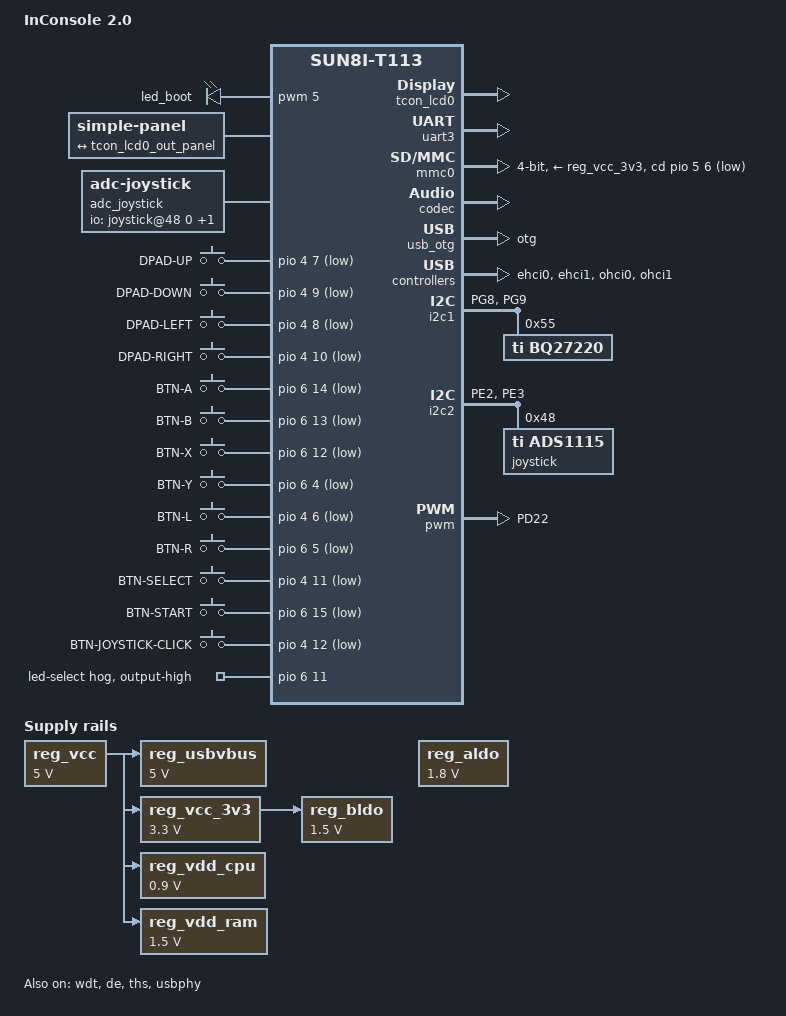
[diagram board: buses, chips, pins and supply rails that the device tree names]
// SPDX-License-Identifier: (GPL-2.0+ or MIT)
// Copyright (C) 2022 Samuel Holland <samuel@sholland.org>

/dts-v1/;

#include <dt-bindings/gpio/gpio.h>
#include <dt-bindings/leds/common.h>
#include "sun8i-t113.dtsi"

/ {
	model = "InConsole 2.0";
	compatible = "allwinner,sun20i-d1", "allwinner,sun8i";

	aliases {
        serial0 = &uart3;
        serial1 = &uart1;
        mmc0 = &mmc0;
	};

	chosen {
		stdout-path = "serial0:115200n8";
		// bootargs = "mem=128M cma=72M root=/dev/mmcblk0p2 init=/sbin/init rootwait earlyprintk=sunxi-uart,0x02501400 console=tty0 console=ttyS5,115200";
		// bootargs = "mem=128M cma=64M root=/dev/mmcblk0p2 init=/sbin/init rootwait console=ttyS5,115200 earlyprintk=sunxi-uart,0x02501400";
	};

	reg_vcc: vcc {
		compatible = "regulator-fixed";
		regulator-name = "vcc";
		regulator-min-microvolt = <5000000>;
		regulator-max-microvolt = <5000000>;
	};

	reg_usbvbus: usbvbus {
		compatible = "regulator-fixed";
		regulator-name = "usbvbus";
		regulator-min-microvolt = <5000000>;
		regulator-max-microvolt = <5000000>;
		vin-supply = <&reg_vcc>;
	};

	reg_vcc_3v3: vcc-3v3 {
		compatible = "regulator-fixed";
		regulator-name = "vcc-3v3";
		regulator-min-microvolt = <3300000>;
		regulator-max-microvolt = <3300000>;
		vin-supply = <&reg_vcc>;
	};

	reg_vdd_cpu: vdd-cpu {
		compatible = "regulator-fixed";
		regulator-name = "vdd-cpu";
		regulator-min-microvolt = <900000>;
		regulator-max-microvolt = <900000>;
		vin-supply = <&reg_vcc>;
	};

	reg_vdd_ram: vdd-ram {
		compatible = "regulator-fixed";
		regulator-name = "vdd-ram";
		regulator-min-microvolt = <1500000>;
		regulator-max-microvolt = <1500000>;
		vin-supply = <&reg_vcc>;
	};

	leds {
        compatible = "pwm-leds";

        boot_led: led-boot {
            label = "led_boot";
            pwms = <&pwm 5 1000000 500000>;
            linux,default-trigger = "heartbeat";
            default-state = "on";
            color = "green";
        };
    };

	panel {
		compatible = "simple-panel";
		port {
			panel_input: endpoint {
				remote-endpoint = <&tcon_lcd0_out_panel>;
			};
		};
	};

    adc_joystick: adc-joystick {
        compatible = "adc-joystick";
        io-channels = <&joystick@48 0>, <&joystick@48 1>;
        poll-interval = <20>;
        
        axis-x {
            linux,code = <0x00>;
            abs-range = <0 32767>;
            abs-fuzz = <32>;
            abs-flat = <32>;
        };
        
        axis-y {
            linux,code = <0x01>;
            abs-range = <0 32767>;
            abs-fuzz = <32>;
            abs-flat = <32>;
        };
    };

    gpio_keys: gpio-keys {
        compatible = "gpio-keys";
        autorepeat;

        button-up {
            label = "DPAD-UP";
            linux,code = <103>; /* KEY_UP */
            gpios = <&pio 4 7 GPIO_ACTIVE_LOW>; /* PE7 */
        };

        button-down {
            label = "DPAD-DOWN";
            linux,code = <108>; /* KEY_DOWN */
            gpios = <&pio 4 9 GPIO_ACTIVE_LOW>; /* PE9 */
        };

        button-left {
            label = "DPAD-LEFT";
            linux,code = <105>; /* KEY_LEFT */
            gpios = <&pio 4 8 GPIO_ACTIVE_LOW>; /* PE8 */
        };

        button-right {
            label = "DPAD-RIGHT";
            linux,code = <106>; /* KEY_RIGHT */
            gpios = <&pio 4 10 GPIO_ACTIVE_LOW>; /* PE10 */
        };

        button-a {
            label = "BTN-A";
            linux,code = <304>; /* BTN_A */
            gpios = <&pio 6 14 GPIO_ACTIVE_LOW>; /* PG14 */
        };

        button-b {
            label = "BTN-B";
            linux,code = <305>; /* BTN_B */
            gpios = <&pio 6 13 GPIO_ACTIVE_LOW>; /* PG13 */
        };

        button-x {
            label = "BTN-X";
            linux,code = <307>; /* BTN_X */
            gpios = <&pio 6 12 GPIO_ACTIVE_LOW>; /* PG12 */
        };

        button-y {
            label = "BTN-Y";
            linux,code = <308>; /* BTN_Y */
            gpios = <&pio 6 4 GPIO_ACTIVE_LOW>; /* PG4 */
        };

        button-l {
            label = "BTN-L";
            linux,code = <310>; /* BTN_TL */
            gpios = <&pio 4 6 GPIO_ACTIVE_LOW>; /* PE6 */
        };

        button-r {
            label = "BTN-R";
            linux,code = <311>; /* BTN_TR */
            gpios = <&pio 6 5 GPIO_ACTIVE_LOW>; /* PG5 */
        };

        button-select {
            label = "BTN-SELECT";
            linux,code = <314>; /* BTN_SELECT */
            gpios = <&pio 4 11 GPIO_ACTIVE_LOW>; /* PE11 */
        };

        button-start {
            label = "BTN-START";
            linux,code = <315>; /* BTN_START */
            gpios = <&pio 6 15 GPIO_ACTIVE_LOW>; /* PG15 */
        };

        button-joy {
            label = "BTN-JOYSTICK-CLICK";
            linux,code = <317>; /* BTN_THUMBL */
            gpios = <&pio 4 12 GPIO_ACTIVE_LOW>; /* PE12 */
        };
    };
};

&reg_aldo {
	regulator-min-microvolt = <1800000>;
	regulator-max-microvolt = <1800000>;
	vdd33-supply = <&reg_vcc_3v3>;
};

&reg_bldo { /* only test */
    compatible = "regulator-fixed";
    regulator-name = "bldo";
    regulator-min-microvolt = <1500000>;
    regulator-max-microvolt = <1500000>;
    vin-supply = <&reg_vcc_3v3>;
};

&cpu0 {
	cpu-supply = <&reg_vdd_cpu>;
};

&cpu1 {
	cpu-supply = <&reg_vdd_cpu>;
};

&wdt {
	status = "okay";
};

&de {
	status = "okay";
};

&tcon_lcd0 {
	pinctrl-names = "default";
	pinctrl-0 = <&lcd_rgb666_pins>;
	status = "okay";
};

&tcon_lcd0_out {
	tcon_lcd0_out_panel: endpoint@0 {
		reg = <0>;
		remote-endpoint = <&panel_input>;
	};
};

&pio {

	vcc-pb-supply = <&reg_vcc_3v3>;
	vcc-pc-supply = <&reg_vcc_3v3>;
	vcc-pd-supply = <&reg_vcc_3v3>;
	vcc-pe-supply = <&reg_vcc_3v3>;
	vcc-pf-supply = <&reg_vcc_3v3>;
	vcc-pg-supply = <&reg_vcc_3v3>;

    boot_led_select {
        gpio-hog;
        gpios = <6 11 GPIO_ACTIVE_HIGH>; /* PG11 */
        output-high;
        line-name = "led-select";
    };

    pwm7_pd22_custom: pwm7-pd22 {
        pins = "PD22";
        function = "pwm7";
    };

    i2c1_pg_custom: i2c1-pins {
        pins = "PG8", "PG9";
        function = "i2c1";
        drive-strength = <10>;
    };

    i2c2_pe_custom: i2c2-pins {
        pins = "PE2", "PE3";
        function = "i2c2";
        drive-strength = <10>;
    };
};

&uart0 {
    status = "disabled";
};

&uart3 {
    pinctrl-0 = <&uart3_pb_pins>;
    pinctrl-names = "default";
    status = "okay";
};

&mmc0 {
	bus-width = <4>;
	cd-gpios = <&pio 5 6 (GPIO_ACTIVE_LOW)>;
	disable-wp;
	vmmc-supply = <&reg_vcc_3v3>;
	vqmmc-supply = <&reg_vcc_3v3>;
	pinctrl-0 = <&mmc0_pins>;
	pinctrl-names = "default";
	status = "okay";
};

&codec {
    allwinner,audio-routing = "Headphone", "HP"; 
    status = "okay";
};

&usb_otg {
	dr_mode = "otg";
	status = "okay";
};

&ehci0 {
	status = "okay";
};

&dmic {
	status = "disabled";
};

&ehci1 {
	status = "okay";
};


&ohci0 {
	status = "okay";
};

&ohci1 {
	status = "okay";
};

&ths {
	status = "okay";
/*	vref-supply = <&reg_aldo>; */
};

&usbphy {
	usb0_vbus-supply = <&reg_usbvbus>;
	usb1_vbus-supply = <&reg_usbvbus>;
	status = "okay";
};

&i2c1 {
    pinctrl-names = "default";
    pinctrl-0 = <&i2c1_pg_custom>;
    status = "okay";

    bq27220: battery@55 {
        compatible = "ti,bq27220";
        reg = <0x55>;
    };
};

&i2c2 {
    pinctrl-0 = <&i2c2_pe_custom>;
    pinctrl-names = "default";
    status = "okay";

    joystick@48 {
        compatible = "ti,ads1115";
        reg = <0x48>;
        #io-channel-cells = <1>;
    };
};

backlight: backlight {
    compatible = "pwm-backlight";
    pwms = <&pwm 7 50000 0>;
    brightness-levels = <0 4 8 16 32 64 128 255>;
    default-brightness-level = <6>;
    power-supply = <&reg_vcc_3v3>;
    status = "okay";
};

&pwm {
    pinctrl-0 = <&pwm7_pd22_custom>;
    pinctrl-names = "default";
    status = "okay";
};
